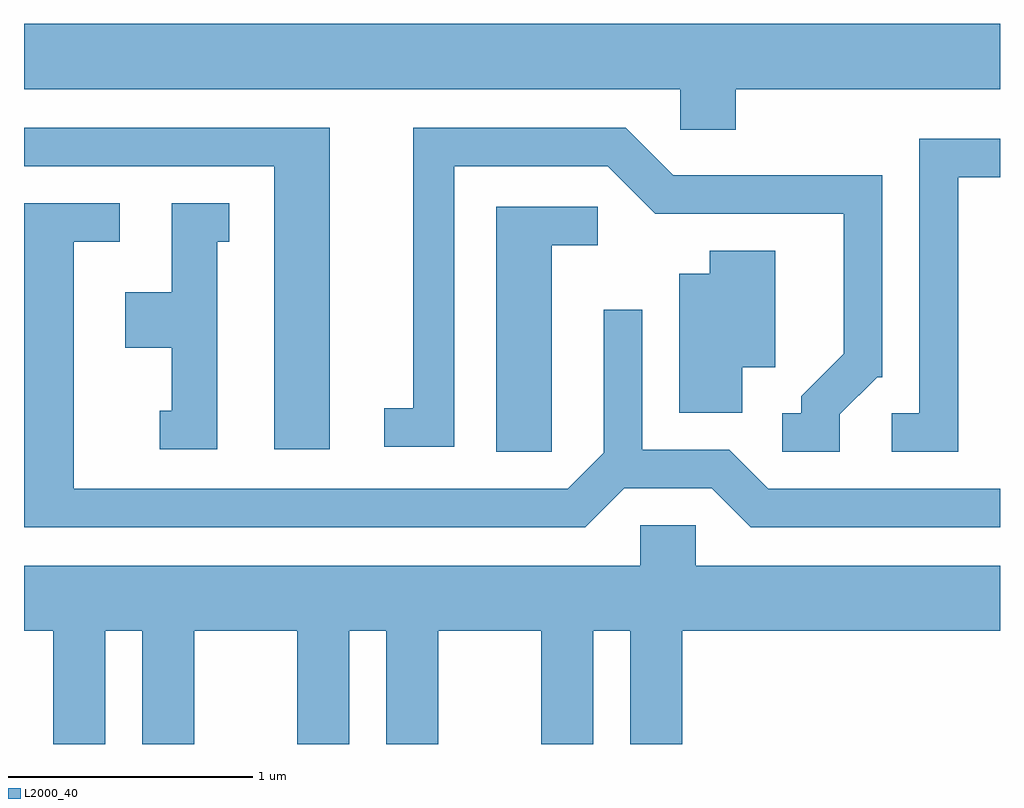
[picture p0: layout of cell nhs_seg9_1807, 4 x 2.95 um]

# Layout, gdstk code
import gdstk
lib = gdstk.Library(unit=1e-6, precision=1e-09)
def P(c, l, *ps):  # polygons
    for p in ps: c.add(gdstk.Polygon(p, *l))
L2000_40 = (2000, 40)

nhs_seg9_1807 = lib.new_cell('nhs_seg9_1807')
P(nhs_seg9_1807, L2000_40, [(240.529,2025.116),(241.611,2025.116),(241.611,2025.384),(237.611,2025.384),(237.611,2025.116),(240.301,2025.116),(240.301,2024.951),(240.529,2024.951)],
  [(240.954,2023.784),(241.107,2023.936),(241.129,2023.936),(241.129,2024.764),(240.272,2024.764),(240.077,2024.959),(239.206,2024.959),(239.206,2023.809),(239.088,2023.809),(239.088,2023.651),(239.374,2023.651),(239.374,2024.801),(240.004,2024.801),(240.199,2024.606),(240.971,2024.606),(240.971,2024.032),(240.796,2023.857),(240.796,2023.789),(240.718,2023.789),(240.718,2023.631),(240.954,2023.631)],
  [(238.864,2024.959),(237.611,2024.959),(237.611,2024.801),(238.636,2024.801),(238.636,2023.641),(238.864,2023.641)],
  [(241.439,2024.756),(241.611,2024.756),(241.611,2024.914),(241.281,2024.914),(241.281,2023.789),(241.168,2023.789),(241.168,2023.631),(241.439,2023.631)],
  [(240.072,2023.481),(240.429,2023.481),(240.589,2023.321),(241.611,2023.321),(241.611,2023.479),(240.662,2023.479),(240.502,2023.639),(240.144,2023.639),(240.144,2024.213),(239.986,2024.213),(239.986,2023.627),(239.839,2023.479),(237.814,2023.479),(237.814,2024.491),(238.003,2024.491),(238.003,2024.649),(237.611,2024.649),(237.611,2023.321),(239.912,2023.321)],
  [(238.404,2024.491),(238.453,2024.491),(238.453,2024.649),(238.216,2024.649),(238.216,2024.284),(238.026,2024.284),(238.026,2024.056),(238.216,2024.056),(238.216,2023.799),(238.168,2023.799),(238.168,2023.641),(238.404,2023.641)],
  [(239.774,2024.476),(239.963,2024.476),(239.963,2024.634),(239.546,2024.634),(239.546,2023.631),(239.774,2023.631)],
  [(240.554,2023.976),(240.689,2023.976),(240.689,2024.454),(240.421,2024.454),(240.421,2024.359),(240.296,2024.359),(240.296,2023.791),(240.554,2023.791)],
  [(237.944,2022.896),(238.096,2022.896),(238.096,2022.432),(238.309,2022.432),(238.309,2022.896),(238.731,2022.896),(238.731,2022.432),(238.944,2022.432),(238.944,2022.896),(239.096,2022.896),(239.096,2022.432),(239.309,2022.432),(239.309,2022.896),(239.731,2022.896),(239.731,2022.432),(239.944,2022.432),(239.944,2022.896),(240.096,2022.896),(240.096,2022.432),(240.309,2022.432),(240.309,2022.896),(241.611,2022.896),(241.611,2023.164),(240.364,2023.164),(240.364,2023.329),(240.136,2023.329),(240.136,2023.164),(237.611,2023.164),(237.611,2022.896),(237.731,2022.896),(237.731,2022.432),(237.944,2022.432)])

lib.write_gds('nhs_seg9_1807.gds')
